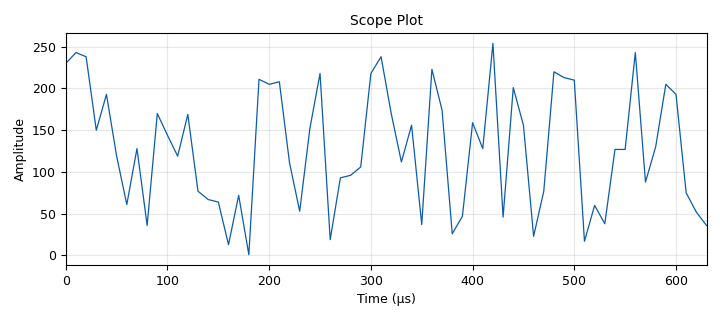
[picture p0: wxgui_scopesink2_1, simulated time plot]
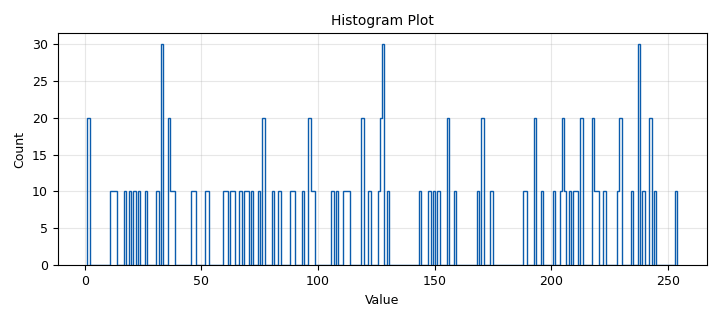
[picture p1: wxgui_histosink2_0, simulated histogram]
<?xml version='1.0' encoding='utf-8'?>
<flow_graph>
<block>
<key>options</key>
<param><key>id</key><value>top_block</value></param>
<param><key>generate_options</key><value>wx_gui</value></param>
<param><key>category</key><value>Custom</value></param>
</block>
<block>
<key>variable</key>
<param><key>id</key><value>samp_rate</value></param>
<param><key>value</key><value>1000000/10</value></param>
</block>
<block>
<key>gr_uchar_to_float</key>
<param><key>id</key><value>gr_uchar_to_float_0</value></param>
</block>
<block>
<key>gr_noise_source_x</key>
<param><key>id</key><value>gr_noise_source_x_0</value></param>
<param><key>_enabled</key><value>False</value></param>
<param><key>type</key><value>float</value></param>
<param><key>noise_type</key><value>gr.GR_GAUSSIAN</value></param>
<param><key>amp</key><value>1</value></param>
<param><key>seed</key><value>42</value></param>
</block>
<block>
<key>gr_throttle</key>
<param><key>id</key><value>gr_throttle_0</value></param>
<param><key>type</key><value>complex</value></param>
<param><key>samples_per_second</key><value>samp_rate</value></param>
<param><key>vlen</key><value>1</value></param>
</block>
<block>
<key>gr_throttle</key>
<param><key>id</key><value>gr_throttle_0_0</value></param>
<param><key>type</key><value>byte</value></param>
<param><key>samples_per_second</key><value>samp_rate</value></param>
<param><key>vlen</key><value>1</value></param>
</block>
<block>
<key>gr_glfsr_source_x</key>
<param><key>id</key><value>gr_glfsr_source_x_0</value></param>
<param><key>_enabled</key><value>False</value></param>
<param><key>type</key><value>byte</value></param>
<param><key>degree</key><value>6</value></param>
<param><key>repeat</key><value>True</value></param>
<param><key>mask</key><value>0</value></param>
<param><key>seed</key><value>1</value></param>
</block>
<block>
<key>gr_unpacked_to_packed_xx</key>
<param><key>id</key><value>gr_unpacked_to_packed_xx_0</value></param>
<param><key>_enabled</key><value>False</value></param>
<param><key>type</key><value>byte</value></param>
<param><key>bits_per_chunk</key><value>1</value></param>
<param><key>endianness</key><value>gr.GR_LSB_FIRST</value></param>
<param><key>num_ports</key><value>1</value></param>
</block>
<block>
<key>gr_add_xx</key>
<param><key>id</key><value>gr_add_xx_0</value></param>
<param><key>type</key><value>complex</value></param>
<param><key>num_inputs</key><value>2</value></param>
<param><key>vlen</key><value>1</value></param>
</block>
<block>
<key>wxgui_scopesink2</key>
<param><key>id</key><value>wxgui_scopesink2_1</value></param>
<param><key>type</key><value>float</value></param>
<param><key>title</key><value>Scope Plot</value></param>
<param><key>samp_rate</key><value>samp_rate</value></param>
<param><key>v_scale</key><value>0</value></param>
<param><key>v_offset</key><value>0</value></param>
<param><key>t_scale</key><value>0</value></param>
<param><key>ac_couple</key><value>False</value></param>
<param><key>xy_mode</key><value>False</value></param>
<param><key>num_inputs</key><value>1</value></param>
<param><key>notebook</key><value>nb, 1</value></param>
</block>
<block>
<key>wxgui_scopesink2</key>
<param><key>id</key><value>wxgui_scopesink2_0</value></param>
<param><key>type</key><value>complex</value></param>
<param><key>title</key><value>Scope Plot</value></param>
<param><key>samp_rate</key><value>samp_rate</value></param>
<param><key>v_scale</key><value>0</value></param>
<param><key>v_offset</key><value>0</value></param>
<param><key>t_scale</key><value>0</value></param>
<param><key>ac_couple</key><value>False</value></param>
<param><key>xy_mode</key><value>False</value></param>
<param><key>num_inputs</key><value>1</value></param>
<param><key>notebook</key><value>nb, 3</value></param>
</block>
<block>
<key>random_source_x</key>
<param><key>id</key><value>random_source_x_0</value></param>
<param><key>type</key><value>byte</value></param>
<param><key>min</key><value>0</value></param>
<param><key>max</key><value>256</value></param>
<param><key>num_samps</key><value>100</value></param>
<param><key>repeat</key><value>True</value></param>
</block>
<block>
<key>variable_slider</key>
<param><key>id</key><value>noise</value></param>
<param><key>label</key><value>Noise</value></param>
<param><key>value</key><value>0</value></param>
<param><key>min</key><value>0</value></param>
<param><key>max</key><value>1</value></param>
<param><key>num_steps</key><value>100</value></param>
<param><key>style</key><value>wx.SL_HORIZONTAL</value></param>
<param><key>converver</key><value>float_converter</value></param>
</block>
<block>
<key>variable</key>
<param><key>id</key><value>samp_per_sym</value></param>
<param><key>value</key><value>8</value></param>
</block>
<block>
<key>wxgui_histosink2</key>
<param><key>id</key><value>wxgui_histosink2_0</value></param>
<param><key>title</key><value>Histogram Plot</value></param>
<param><key>num_bins</key><value>256</value></param>
<param><key>frame_size</key><value>1000</value></param>
<param><key>notebook</key><value>nb, 2</value></param>
</block>
<block>
<key>notebook</key>
<param><key>id</key><value>nb</value></param>
<param><key>style</key><value>wx.NB_TOP</value></param>
<param><key>labels</key><value>['Signal', 'Rand', 'Histo', 'Scope', 'Waterfall', 'Const', 'Noise']</value></param>
</block>
<block>
<key>gr_noise_source_x</key>
<param><key>id</key><value>gr_noise_source_x_0_0</value></param>
<param><key>type</key><value>complex</value></param>
<param><key>noise_type</key><value>gr.GR_GAUSSIAN</value></param>
<param><key>amp</key><value>noise</value></param>
<param><key>seed</key><value>42</value></param>
</block>
<block>
<key>wxgui_fftsink2</key>
<param><key>id</key><value>wxgui_fftsink2_0_0</value></param>
<param><key>type</key><value>complex</value></param>
<param><key>title</key><value>FFT Plot</value></param>
<param><key>samp_rate</key><value>samp_rate</value></param>
<param><key>baseband_freq</key><value>0</value></param>
<param><key>y_per_div</key><value>10</value></param>
<param><key>y_divs</key><value>10</value></param>
<param><key>ref_level</key><value>50</value></param>
<param><key>ref_scale</key><value>2.0</value></param>
<param><key>fft_size</key><value>1024</value></param>
<param><key>fft_rate</key><value>30</value></param>
<param><key>peak_hold</key><value>False</value></param>
<param><key>average</key><value>True</value></param>
<param><key>avg_alpha</key><value>0.25</value></param>
<param><key>win</key><value>None</value></param>
<param><key>notebook</key><value>nb, 6</value></param>
</block>
<block>
<key>facsink</key>
<param><key>id</key><value>facsink_0</value></param>
<param><key>title</key><value>Fast AutoCorrelation</value></param>
<param><key>type</key><value>complex</value></param>
<param><key>samp_rate</key><value>samp_rate</value></param>
<param><key>baseband_freq</key><value>0</value></param>
<param><key>fac_size</key><value>512*2*16*2</value></param>
<param><key>fac_rate</key><value>facsink.default_fac_rate</value></param>
<param><key>y_per_div</key><value>10</value></param>
<param><key>ref_level</key><value>50</value></param>
<param><key>peak_hold</key><value>False</value></param>
<param><key>average</key><value>False</value></param>
<param><key>avg_alpha</key><value>0</value></param>
<param><key>notebook</key><value>nb, 0</value></param>
</block>
<block>
<key>wxgui_constellationsink2</key>
<param><key>id</key><value>wxgui_constellationsink2_0</value></param>
<param><key>title</key><value>Constellation Plot</value></param>
<param><key>samp_rate</key><value>samp_rate</value></param>
<param><key>frame_rate</key><value>10</value></param>
<param><key>const_size</key><value>2048/4</value></param>
<param><key>M</key><value>4</value></param>
<param><key>theta</key><value>0</value></param>
<param><key>alpha</key><value>0.005</value></param>
<param><key>fmax</key><value>0.06</value></param>
<param><key>mu</key><value>0.5</value></param>
<param><key>gain_mu</key><value>0.005</value></param>
<param><key>symbol_rate</key><value>samp_rate/samp_per_sym</value></param>
<param><key>omega_limit</key><value>0.005</value></param>
<param><key>notebook</key><value>nb, 5</value></param>
</block>
<block>
<key>wxgui_waterfallsink2</key>
<param><key>id</key><value>wxgui_waterfallsink2_0</value></param>
<param><key>type</key><value>complex</value></param>
<param><key>title</key><value>Waterfall Plot</value></param>
<param><key>samp_rate</key><value>samp_rate</value></param>
<param><key>baseband_freq</key><value>0</value></param>
<param><key>dynamic_range</key><value>100</value></param>
<param><key>ref_level</key><value>50</value></param>
<param><key>ref_scale</key><value>2.0</value></param>
<param><key>fft_size</key><value>512</value></param>
<param><key>fft_rate</key><value>15</value></param>
<param><key>average</key><value>False</value></param>
<param><key>avg_alpha</key><value>0</value></param>
<param><key>win</key><value>None</value></param>
<param><key>notebook</key><value>nb, 4</value></param>
</block>
<block>
<key>wxgui_fftsink2</key>
<param><key>id</key><value>wxgui_fftsink2_0</value></param>
<param><key>type</key><value>complex</value></param>
<param><key>title</key><value>FFT Plot</value></param>
<param><key>samp_rate</key><value>samp_rate</value></param>
<param><key>baseband_freq</key><value>0</value></param>
<param><key>y_per_div</key><value>10</value></param>
<param><key>y_divs</key><value>10</value></param>
<param><key>ref_level</key><value>50</value></param>
<param><key>ref_scale</key><value>2.0</value></param>
<param><key>fft_size</key><value>1024</value></param>
<param><key>fft_rate</key><value>30</value></param>
<param><key>peak_hold</key><value>False</value></param>
<param><key>average</key><value>True</value></param>
<param><key>avg_alpha</key><value>0.25</value></param>
<param><key>win</key><value>None</value></param>
<param><key>notebook</key><value>nb, 0</value></param>
</block>
<block>
<key>gr_complex_to_mag</key>
<param><key>id</key><value>gr_complex_to_mag_0</value></param>
<param><key>_enabled</key><value>False</value></param>
<param><key>vlen</key><value>1</value></param>
</block>
<block>
<key>wxgui_scopesink2</key>
<param><key>id</key><value>wxgui_scopesink2_1_0</value></param>
<param><key>_enabled</key><value>False</value></param>
<param><key>type</key><value>float</value></param>
<param><key>title</key><value>Scope Plot</value></param>
<param><key>samp_rate</key><value>samp_rate</value></param>
<param><key>v_scale</key><value>0</value></param>
<param><key>v_offset</key><value>0</value></param>
<param><key>t_scale</key><value>0</value></param>
<param><key>ac_couple</key><value>False</value></param>
<param><key>xy_mode</key><value>False</value></param>
<param><key>num_inputs</key><value>1</value></param>
<param><key>notebook</key><value>nb, 6</value></param>
</block>
<block>
<key>gr_complex_to_mag</key>
<param><key>id</key><value>gr_complex_to_mag_0_0</value></param>
<param><key>_enabled</key><value>False</value></param>
<param><key>vlen</key><value>1</value></param>
</block>
<block>
<key>gr_complex_to_real</key>
<param><key>id</key><value>gr_complex_to_real_0</value></param>
<param><key>vlen</key><value>1</value></param>
</block>
<block>
<key>gr_complex_to_imag</key>
<param><key>id</key><value>gr_complex_to_imag_0</value></param>
<param><key>_enabled</key><value>False</value></param>
<param><key>vlen</key><value>1</value></param>
</block>
<block>
<key>wxgui_histosink2</key>
<param><key>id</key><value>wxgui_histosink2_0_0</value></param>
<param><key>title</key><value>Histogram Plot</value></param>
<param><key>num_bins</key><value>256</value></param>
<param><key>frame_size</key><value>100000</value></param>
<param><key>notebook</key><value>nb, 6</value></param>
</block>
<block>
<key>blks2_dxpsk_mod</key>
<param><key>id</key><value>blks2_dxpsk_mod_0</value></param>
<param><key>_enabled</key><value>False</value></param>
<param><key>type</key><value>dqpsk</value></param>
<param><key>samples_per_symbol</key><value>samp_per_sym</value></param>
<param><key>excess_bw</key><value>0.35</value></param>
<param><key>gray_code</key><value>True</value></param>
<param><key>diff_code</key><value>True</value></param>
<param><key>verbose</key><value>True</value></param>
<param><key>log</key><value>False</value></param>
</block>
<block>
<key>blks2_qamx_mod</key>
<param><key>id</key><value>blks2_qamx_mod_0</value></param>
<param><key>type</key><value>qam16</value></param>
<param><key>samples_per_symbol</key><value>samp_per_sym</value></param>
<param><key>excess_bw</key><value>0.35</value></param>
<param><key>gray_code</key><value>True</value></param>
<param><key>verbose</key><value>False</value></param>
<param><key>log</key><value>False</value></param>
</block>
<connection><source_block_id>gr_throttle_0</source_block_id><sink_block_id>facsink_0</sink_block_id><source_key>0</source_key><sink_key>0</sink_key></connection>
<connection><source_block_id>gr_throttle_0</source_block_id><sink_block_id>wxgui_constellationsink2_0</sink_block_id><source_key>0</source_key><sink_key>0</sink_key></connection>
<connection><source_block_id>gr_throttle_0</source_block_id><sink_block_id>wxgui_scopesink2_0</sink_block_id><source_key>0</source_key><sink_key>0</sink_key></connection>
<connection><source_block_id>gr_throttle_0</source_block_id><sink_block_id>wxgui_waterfallsink2_0</sink_block_id><source_key>0</source_key><sink_key>0</sink_key></connection>
<connection><source_block_id>gr_noise_source_x_0</source_block_id><sink_block_id>wxgui_histosink2_0</sink_block_id><source_key>0</source_key><sink_key>0</sink_key></connection>
<connection><source_block_id>gr_glfsr_source_x_0</source_block_id><sink_block_id>gr_unpacked_to_packed_xx_0</sink_block_id><source_key>0</source_key><sink_key>0</sink_key></connection>
<connection><source_block_id>gr_unpacked_to_packed_xx_0</source_block_id><sink_block_id>gr_throttle_0_0</sink_block_id><source_key>0</source_key><sink_key>0</sink_key></connection>
<connection><source_block_id>gr_throttle_0_0</source_block_id><sink_block_id>gr_uchar_to_float_0</sink_block_id><source_key>0</source_key><sink_key>0</sink_key></connection>
<connection><source_block_id>gr_uchar_to_float_0</source_block_id><sink_block_id>wxgui_scopesink2_1</sink_block_id><source_key>0</source_key><sink_key>0</sink_key></connection>
<connection><source_block_id>gr_unpacked_to_packed_xx_0</source_block_id><sink_block_id>blks2_dxpsk_mod_0</sink_block_id><source_key>0</source_key><sink_key>0</sink_key></connection>
<connection><source_block_id>gr_unpacked_to_packed_xx_0</source_block_id><sink_block_id>blks2_qamx_mod_0</sink_block_id><source_key>0</source_key><sink_key>0</sink_key></connection>
<connection><source_block_id>gr_throttle_0</source_block_id><sink_block_id>gr_complex_to_mag_0</sink_block_id><source_key>0</source_key><sink_key>0</sink_key></connection>
<connection><source_block_id>gr_complex_to_mag_0</source_block_id><sink_block_id>wxgui_scopesink2_1_0</sink_block_id><source_key>0</source_key><sink_key>0</sink_key></connection>
<connection><source_block_id>gr_uchar_to_float_0</source_block_id><sink_block_id>wxgui_histosink2_0</sink_block_id><source_key>0</source_key><sink_key>0</sink_key></connection>
<connection><source_block_id>gr_add_xx_0</source_block_id><sink_block_id>gr_throttle_0</sink_block_id><source_key>0</source_key><sink_key>0</sink_key></connection>
<connection><source_block_id>blks2_dxpsk_mod_0</source_block_id><sink_block_id>gr_add_xx_0</sink_block_id><source_key>0</source_key><sink_key>0</sink_key></connection>
<connection><source_block_id>blks2_qamx_mod_0</source_block_id><sink_block_id>gr_add_xx_0</sink_block_id><source_key>0</source_key><sink_key>0</sink_key></connection>
<connection><source_block_id>gr_throttle_0</source_block_id><sink_block_id>wxgui_fftsink2_0</sink_block_id><source_key>0</source_key><sink_key>0</sink_key></connection>
<connection><source_block_id>random_source_x_0</source_block_id><sink_block_id>gr_throttle_0_0</sink_block_id><source_key>0</source_key><sink_key>0</sink_key></connection>
<connection><source_block_id>random_source_x_0</source_block_id><sink_block_id>blks2_dxpsk_mod_0</sink_block_id><source_key>0</source_key><sink_key>0</sink_key></connection>
<connection><source_block_id>random_source_x_0</source_block_id><sink_block_id>blks2_qamx_mod_0</sink_block_id><source_key>0</source_key><sink_key>0</sink_key></connection>
<connection><source_block_id>gr_noise_source_x_0_0</source_block_id><sink_block_id>wxgui_fftsink2_0_0</sink_block_id><source_key>0</source_key><sink_key>0</sink_key></connection>
<connection><source_block_id>gr_noise_source_x_0_0</source_block_id><sink_block_id>gr_complex_to_mag_0_0</sink_block_id><source_key>0</source_key><sink_key>0</sink_key></connection>
<connection><source_block_id>gr_noise_source_x_0_0</source_block_id><sink_block_id>gr_complex_to_imag_0</sink_block_id><source_key>0</source_key><sink_key>0</sink_key></connection>
<connection><source_block_id>gr_noise_source_x_0_0</source_block_id><sink_block_id>gr_add_xx_0</sink_block_id><source_key>0</source_key><sink_key>1</sink_key></connection>
<connection><source_block_id>gr_noise_source_x_0_0</source_block_id><sink_block_id>gr_complex_to_real_0</sink_block_id><source_key>0</source_key><sink_key>0</sink_key></connection>
<connection><source_block_id>gr_complex_to_imag_0</source_block_id><sink_block_id>wxgui_histosink2_0_0</sink_block_id><source_key>0</source_key><sink_key>0</sink_key></connection>
<connection><source_block_id>gr_complex_to_real_0</source_block_id><sink_block_id>wxgui_histosink2_0_0</sink_block_id><source_key>0</source_key><sink_key>0</sink_key></connection>
<connection><source_block_id>gr_complex_to_mag_0_0</source_block_id><sink_block_id>wxgui_histosink2_0_0</sink_block_id><source_key>0</source_key><sink_key>0</sink_key></connection>
</flow_graph>
